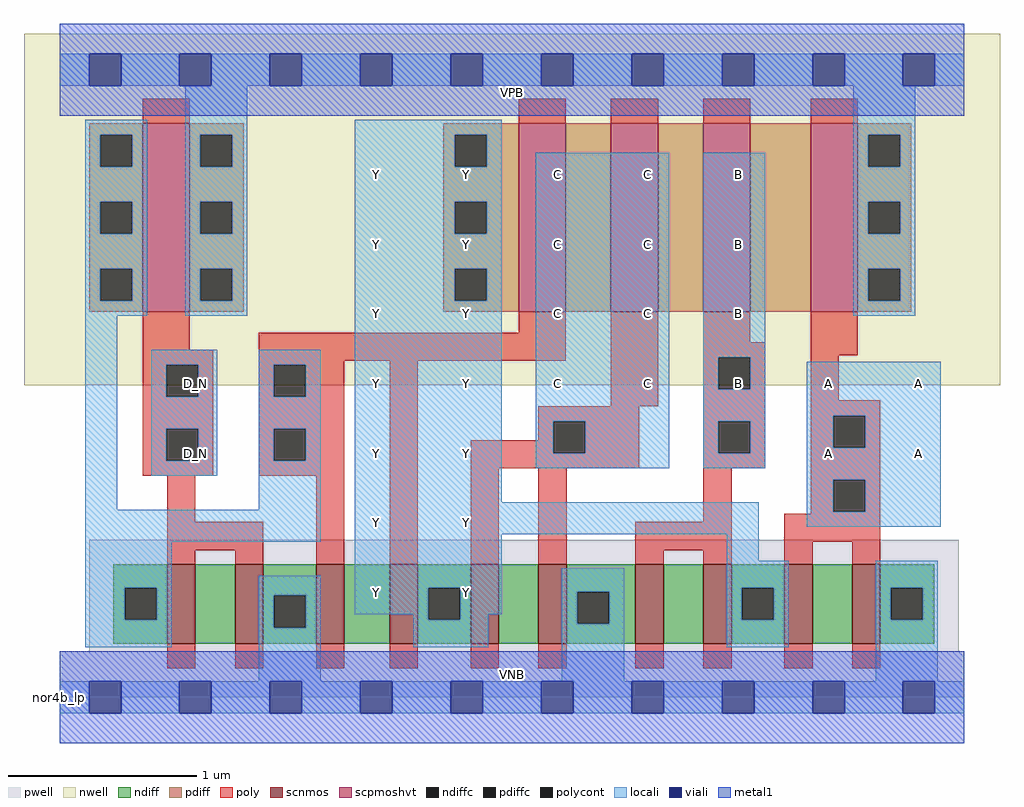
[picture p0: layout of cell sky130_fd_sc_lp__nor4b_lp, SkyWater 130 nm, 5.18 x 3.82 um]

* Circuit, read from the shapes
.subckt sky130_fd_sc_lp__nor4b_lp A B C D_N VGND VNB VPB VPWR Y
XM1 n1 D_N n2 VNB sky130_fd_pr__nfet_01v8 w=0.42 l=0.15
XM2 VGND D_N n1 VNB sky130_fd_pr__nfet_01v8 w=0.42 l=0.15
XM3 n3 n2 VGND VNB sky130_fd_pr__nfet_01v8 w=0.42 l=0.15
XM4 Y n2 n3 VNB sky130_fd_pr__nfet_01v8 w=0.42 l=0.15
XM5 n4 C Y VNB sky130_fd_pr__nfet_01v8 w=0.42 l=0.15
XM6 VGND C n4 VNB sky130_fd_pr__nfet_01v8 w=0.42 l=0.15
XM7 n5 B VGND VNB sky130_fd_pr__nfet_01v8 w=0.42 l=0.15
XM8 Y B n5 VNB sky130_fd_pr__nfet_01v8 w=0.42 l=0.15
XM9 n6 A Y VNB sky130_fd_pr__nfet_01v8 w=0.42 l=0.15
XM10 VGND A n6 VNB sky130_fd_pr__nfet_01v8 w=0.42 l=0.15
XM11 VPWR D_N n2 VPB sky130_fd_pr__pfet_01v8_hvt w=1 l=0.25
XM12 n7 n2 Y VPB sky130_fd_pr__pfet_01v8_hvt w=1 l=0.25
XM13 n8 C n7 VPB sky130_fd_pr__pfet_01v8_hvt w=1 l=0.25
XM14 n9 B n8 VPB sky130_fd_pr__pfet_01v8_hvt w=1 l=0.25
XM15 VPWR A n9 VPB sky130_fd_pr__pfet_01v8_hvt w=1 l=0.25
.ends

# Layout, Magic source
magic
tech sky130A
magscale 1 2
<< nwell >>
rect -38 331 998 704
<< pwell >>
rect 31 49 954 167
rect 0 0 960 49
<< scnmos >>
rect 114 57 144 141
rect 186 57 216 141
rect 272 57 302 141
rect 350 57 380 141
rect 436 57 466 141
rect 508 57 538 141
rect 611 57 641 141
rect 683 57 713 141
rect 769 57 799 141
rect 841 57 871 141
<< scpmoshvt >>
rect 88 409 138 609
rect 487 409 537 609
rect 585 409 635 609
rect 683 409 733 609
rect 797 409 847 609
<< ndiff >>
rect 57 116 114 141
rect 57 82 69 116
rect 103 82 114 116
rect 57 57 114 82
rect 144 57 186 141
rect 216 108 272 141
rect 216 74 227 108
rect 261 74 272 108
rect 216 57 272 74
rect 302 57 350 141
rect 380 116 436 141
rect 380 82 391 116
rect 425 82 436 116
rect 380 57 436 82
rect 466 57 508 141
rect 538 112 611 141
rect 538 78 549 112
rect 583 78 611 112
rect 538 57 611 78
rect 641 57 683 141
rect 713 116 769 141
rect 713 82 724 116
rect 758 82 769 116
rect 713 57 769 82
rect 799 57 841 141
rect 871 116 928 141
rect 871 82 882 116
rect 916 82 928 116
rect 871 57 928 82
<< pdiff >>
rect 31 597 88 609
rect 31 563 43 597
rect 77 563 88 597
rect 31 526 88 563
rect 31 492 43 526
rect 77 492 88 526
rect 31 455 88 492
rect 31 421 43 455
rect 77 421 88 455
rect 31 409 88 421
rect 138 597 195 609
rect 138 563 149 597
rect 183 563 195 597
rect 138 526 195 563
rect 138 492 149 526
rect 183 492 195 526
rect 138 455 195 492
rect 138 421 149 455
rect 183 421 195 455
rect 138 409 195 421
rect 407 597 487 609
rect 407 563 419 597
rect 453 563 487 597
rect 407 526 487 563
rect 407 492 419 526
rect 453 492 487 526
rect 407 455 487 492
rect 407 421 419 455
rect 453 421 487 455
rect 407 409 487 421
rect 537 409 585 609
rect 635 409 683 609
rect 733 409 797 609
rect 847 597 904 609
rect 847 563 858 597
rect 892 563 904 597
rect 847 526 904 563
rect 847 492 858 526
rect 892 492 904 526
rect 847 455 904 492
rect 847 421 858 455
rect 892 421 904 455
rect 847 409 904 421
<< ndiffc >>
rect 69 82 103 116
rect 227 74 261 108
rect 391 82 425 116
rect 549 78 583 112
rect 724 82 758 116
rect 882 82 916 116
<< pdiffc >>
rect 43 563 77 597
rect 43 492 77 526
rect 43 421 77 455
rect 149 563 183 597
rect 149 492 183 526
rect 149 421 183 455
rect 419 563 453 597
rect 419 492 453 526
rect 419 421 453 455
rect 858 563 892 597
rect 858 492 892 526
rect 858 421 892 455
<< poly >>
rect 88 609 138 635
rect 487 609 537 635
rect 585 609 635 635
rect 683 609 733 635
rect 797 609 847 635
rect 88 369 138 409
rect 487 387 537 409
rect 88 353 163 369
rect 88 319 113 353
rect 147 319 163 353
rect 88 285 163 319
rect 88 251 113 285
rect 147 251 163 285
rect 88 235 163 251
rect 211 357 537 387
rect 211 353 302 357
rect 211 319 227 353
rect 261 319 302 353
rect 211 285 302 319
rect 211 251 227 285
rect 261 251 302 285
rect 211 235 302 251
rect 114 186 144 235
rect 114 156 216 186
rect 114 141 144 156
rect 186 141 216 156
rect 272 141 302 235
rect 350 141 380 357
rect 585 309 635 409
rect 683 377 733 409
rect 683 361 749 377
rect 683 327 699 361
rect 733 327 749 361
rect 508 293 615 309
rect 508 273 524 293
rect 436 259 524 273
rect 558 259 615 293
rect 436 243 615 259
rect 683 293 749 327
rect 683 259 699 293
rect 733 259 749 293
rect 683 243 749 259
rect 797 363 847 409
rect 797 315 827 363
rect 797 299 871 315
rect 797 265 821 299
rect 855 265 871 299
rect 436 141 466 243
rect 508 141 538 243
rect 683 186 713 243
rect 797 231 871 265
rect 797 197 821 231
rect 855 197 871 231
rect 797 195 871 197
rect 611 156 713 186
rect 611 141 641 156
rect 683 141 713 156
rect 769 165 871 195
rect 769 141 799 165
rect 841 141 871 165
rect 114 31 144 57
rect 186 31 216 57
rect 272 31 302 57
rect 350 31 380 57
rect 436 31 466 57
rect 508 31 538 57
rect 611 31 641 57
rect 683 31 713 57
rect 769 31 799 57
rect 841 31 871 57
<< polycont >>
rect 113 319 147 353
rect 113 251 147 285
rect 227 319 261 353
rect 227 251 261 285
rect 699 327 733 361
rect 524 259 558 293
rect 699 259 733 293
rect 821 265 855 299
rect 821 197 855 231
<< locali >>
rect 0 649 31 683
rect 65 649 127 683
rect 161 649 223 683
rect 257 649 319 683
rect 353 649 415 683
rect 449 649 511 683
rect 545 649 607 683
rect 641 649 703 683
rect 737 649 799 683
rect 833 649 895 683
rect 929 649 960 683
rect 27 597 93 613
rect 27 563 43 597
rect 77 563 93 597
rect 27 526 93 563
rect 27 492 43 526
rect 77 492 93 526
rect 27 455 93 492
rect 27 421 43 455
rect 77 421 93 455
rect 27 405 93 421
rect 133 597 199 649
rect 133 563 149 597
rect 183 563 199 597
rect 133 526 199 563
rect 133 492 149 526
rect 183 492 199 526
rect 133 455 199 492
rect 133 421 149 455
rect 183 421 199 455
rect 133 405 199 421
rect 313 597 469 613
rect 313 563 419 597
rect 453 563 469 597
rect 842 597 908 649
rect 313 526 469 563
rect 313 492 419 526
rect 453 492 469 526
rect 313 455 469 492
rect 313 421 419 455
rect 453 421 469 455
rect 27 199 61 405
rect 97 353 167 369
rect 97 319 113 353
rect 147 319 167 353
rect 97 285 167 319
rect 97 251 113 285
rect 147 251 167 285
rect 97 235 167 251
rect 211 353 277 369
rect 211 319 227 353
rect 261 319 277 353
rect 211 285 277 319
rect 211 251 227 285
rect 261 251 277 285
rect 211 199 277 251
rect 27 165 277 199
rect 313 207 469 421
rect 505 293 647 578
rect 505 259 524 293
rect 558 259 647 293
rect 505 243 647 259
rect 683 361 749 578
rect 842 563 858 597
rect 892 563 908 597
rect 842 526 908 563
rect 842 492 858 526
rect 892 492 908 526
rect 842 455 908 492
rect 842 421 858 455
rect 892 421 908 455
rect 842 405 908 421
rect 683 327 699 361
rect 733 327 749 361
rect 683 293 749 327
rect 683 259 699 293
rect 733 259 749 293
rect 683 243 749 259
rect 793 299 935 356
rect 793 265 821 299
rect 855 265 935 299
rect 793 231 935 265
rect 313 173 742 207
rect 793 197 821 231
rect 855 197 935 231
rect 793 181 935 197
rect 27 116 119 165
rect 27 82 69 116
rect 103 82 119 116
rect 27 53 119 82
rect 211 108 277 129
rect 211 74 227 108
rect 261 74 277 108
rect 313 116 469 173
rect 708 145 742 173
rect 313 88 391 116
rect 211 17 277 74
rect 375 82 391 88
rect 425 88 469 116
rect 533 112 599 137
rect 425 82 455 88
rect 375 53 455 82
rect 533 78 549 112
rect 583 78 599 112
rect 533 17 599 78
rect 708 116 774 145
rect 708 82 724 116
rect 758 82 774 116
rect 708 53 774 82
rect 866 116 932 145
rect 866 82 882 116
rect 916 82 932 116
rect 866 17 932 82
rect 0 -17 31 17
rect 65 -17 127 17
rect 161 -17 223 17
rect 257 -17 319 17
rect 353 -17 415 17
rect 449 -17 511 17
rect 545 -17 607 17
rect 641 -17 703 17
rect 737 -17 799 17
rect 833 -17 895 17
rect 929 -17 960 17
<< viali >>
rect 31 649 65 683
rect 127 649 161 683
rect 223 649 257 683
rect 319 649 353 683
rect 415 649 449 683
rect 511 649 545 683
rect 607 649 641 683
rect 703 649 737 683
rect 799 649 833 683
rect 895 649 929 683
rect 31 -17 65 17
rect 127 -17 161 17
rect 223 -17 257 17
rect 319 -17 353 17
rect 415 -17 449 17
rect 511 -17 545 17
rect 607 -17 641 17
rect 703 -17 737 17
rect 799 -17 833 17
rect 895 -17 929 17
<< metal1 >>
rect 0 683 960 715
rect 0 649 31 683
rect 65 649 127 683
rect 161 649 223 683
rect 257 649 319 683
rect 353 649 415 683
rect 449 649 511 683
rect 545 649 607 683
rect 641 649 703 683
rect 737 649 799 683
rect 833 649 895 683
rect 929 649 960 683
rect 0 617 960 649
rect 0 17 960 49
rect 0 -17 31 17
rect 65 -17 127 17
rect 161 -17 223 17
rect 257 -17 319 17
rect 353 -17 415 17
rect 449 -17 511 17
rect 545 -17 607 17
rect 641 -17 703 17
rect 737 -17 799 17
rect 833 -17 895 17
rect 929 -17 960 17
rect 0 -49 960 -17
<< labels >>
flabel pwell s 0 0 960 49 0 FreeSans 200 0 0 0 VNB
port 6 nsew ground bidirectional
flabel nwell s 0 617 960 666 0 FreeSans 200 0 0 0 VPB
port 7 nsew power bidirectional
rlabel comment s 0 0 0 0 4 nor4b_lp
flabel metal1 s 0 617 960 666 0 FreeSans 340 0 0 0 VPWR
port 8 nsew power bidirectional
flabel metal1 s 0 0 960 49 0 FreeSans 340 0 0 0 VGND
port 5 nsew ground bidirectional
flabel locali s 127 242 161 276 0 FreeSans 340 0 0 0 D_N
port 4 nsew signal input
flabel locali s 127 316 161 350 0 FreeSans 340 0 0 0 D_N
port 4 nsew signal input
flabel locali s 319 94 353 128 0 FreeSans 340 0 0 0 Y
port 9 nsew signal output
flabel locali s 319 168 353 202 0 FreeSans 340 0 0 0 Y
port 9 nsew signal output
flabel locali s 319 242 353 276 0 FreeSans 340 0 0 0 Y
port 9 nsew signal output
flabel locali s 319 316 353 350 0 FreeSans 340 0 0 0 Y
port 9 nsew signal output
flabel locali s 319 390 353 424 0 FreeSans 340 0 0 0 Y
port 9 nsew signal output
flabel locali s 319 464 353 498 0 FreeSans 340 0 0 0 Y
port 9 nsew signal output
flabel locali s 319 538 353 572 0 FreeSans 340 0 0 0 Y
port 9 nsew signal output
flabel locali s 415 94 449 128 0 FreeSans 340 0 0 0 Y
port 9 nsew signal output
flabel locali s 415 168 449 202 0 FreeSans 340 0 0 0 Y
port 9 nsew signal output
flabel locali s 415 242 449 276 0 FreeSans 340 0 0 0 Y
port 9 nsew signal output
flabel locali s 415 316 449 350 0 FreeSans 340 0 0 0 Y
port 9 nsew signal output
flabel locali s 415 390 449 424 0 FreeSans 340 0 0 0 Y
port 9 nsew signal output
flabel locali s 415 464 449 498 0 FreeSans 340 0 0 0 Y
port 9 nsew signal output
flabel locali s 415 538 449 572 0 FreeSans 340 0 0 0 Y
port 9 nsew signal output
flabel locali s 511 316 545 350 0 FreeSans 340 0 0 0 C
port 3 nsew signal input
flabel locali s 511 390 545 424 0 FreeSans 340 0 0 0 C
port 3 nsew signal input
flabel locali s 511 464 545 498 0 FreeSans 340 0 0 0 C
port 3 nsew signal input
flabel locali s 511 538 545 572 0 FreeSans 340 0 0 0 C
port 3 nsew signal input
flabel locali s 607 316 641 350 0 FreeSans 340 0 0 0 C
port 3 nsew signal input
flabel locali s 607 390 641 424 0 FreeSans 340 0 0 0 C
port 3 nsew signal input
flabel locali s 607 464 641 498 0 FreeSans 340 0 0 0 C
port 3 nsew signal input
flabel locali s 607 538 641 572 0 FreeSans 340 0 0 0 C
port 3 nsew signal input
flabel locali s 703 316 737 350 0 FreeSans 340 0 0 0 B
port 2 nsew signal input
flabel locali s 703 390 737 424 0 FreeSans 340 0 0 0 B
port 2 nsew signal input
flabel locali s 703 464 737 498 0 FreeSans 340 0 0 0 B
port 2 nsew signal input
flabel locali s 703 538 737 572 0 FreeSans 340 0 0 0 B
port 2 nsew signal input
flabel locali s 799 242 833 276 0 FreeSans 340 0 0 0 A
port 1 nsew signal input
flabel locali s 799 316 833 350 0 FreeSans 340 0 0 0 A
port 1 nsew signal input
flabel locali s 895 242 929 276 0 FreeSans 340 0 0 0 A
port 1 nsew signal input
flabel locali s 895 316 929 350 0 FreeSans 340 0 0 0 A
port 1 nsew signal input
<< properties >>
string LEFsite unit
string LEFclass CORE
string FIXED_BBOX 0 0 960 666
string GDS_FILE $PDKPATH/libs.ref/sky130_fd_sc_lp/gds/sky130_fd_sc_lp.gds
string LEFsymmetry X Y R90
string GDS_END 1833126
string GDS_START 1822820
<< end >>
